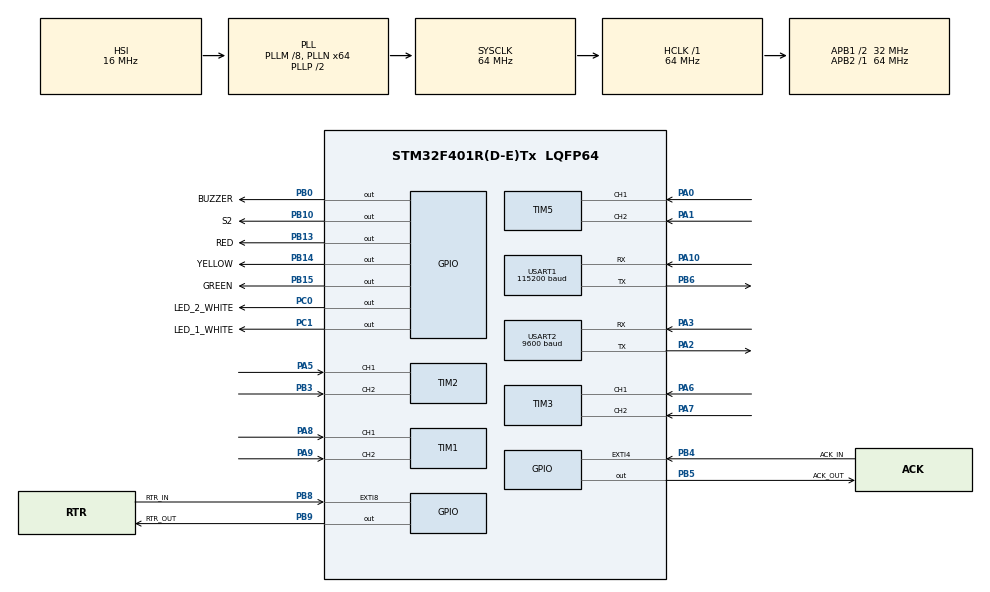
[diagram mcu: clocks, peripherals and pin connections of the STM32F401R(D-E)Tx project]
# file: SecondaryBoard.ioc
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ADC1.Channel-1\#ChannelRegularConversion=ADC_CHANNEL_TEMPSENSOR
ADC1.ContinuousConvMode=ENABLE
ADC1.EOCSelection=ADC_EOC_SEQ_CONV
ADC1.NbrOfConversionFlag=1
ADC1.Rank-1\#ChannelRegularConversion=1
ADC1.SamplingTime-1\#ChannelRegularConversion=ADC_SAMPLETIME_3CYCLES
ADC1.master=1
FREERTOS.Tasks01=defaultTask,24,128,StartDefaultTask,Default,NULL,Dynamic,NULL,NULL
FREERTOS.configENABLE_FPU=1
FREERTOS.configUSE_NEWLIB_REENTRANT=1
Mcu.Family=STM32F4
Mcu.Name=STM32F401R(D-E)Tx
Mcu.Package=LQFP64
NVIC.EXTI4_IRQn=true\:5\:0\:false\:false\:true\:true\:true\:true\:true
NVIC.EXTI9_5_IRQn=true\:5\:0\:false\:false\:true\:true\:true\:true\:true
NVIC.PriorityGroup=NVIC_PRIORITYGROUP_4
NVIC.TIM1_BRK_TIM9_IRQn=true\:5\:0\:false\:false\:true\:true\:true\:true\:true
NVIC.TIM1_TRG_COM_TIM11_IRQn=true\:15\:0\:false\:false\:true\:false\:false\:true\:true
NVIC.TIM1_UP_TIM10_IRQn=true\:5\:0\:false\:false\:true\:true\:false\:true\:true
NVIC.TimeBase=TIM1_TRG_COM_TIM11_IRQn
NVIC.TimeBaseIP=TIM11
NVIC.USART1_IRQn=true\:5\:0\:false\:false\:true\:true\:true\:true\:true
PA0-WKUP.Signal=S_TIM5_CH1
PA1.Signal=S_TIM5_CH2
PA10.Mode=Asynchronous
PA10.Signal=USART1_RX
PA2.Mode=Asynchronous
PA2.Signal=USART2_TX
PA3.Mode=Asynchronous
PA3.Signal=USART2_RX
PA5.Signal=S_TIM2_CH1_ETR
PA6.Signal=S_TIM3_CH1
PA7.Signal=S_TIM3_CH2
PA8.Signal=S_TIM1_CH1
PA9.Signal=S_TIM1_CH2
PB0.GPIO_Label=BUZZER
PB0.Signal=GPIO_Output
PB10.GPIO_Label=S2
PB10.Signal=GPIO_Output
PB13.GPIO_Label=RED
PB13.Signal=GPIO_Output
PB14.GPIO_Label=YELLOW
PB14.Signal=GPIO_Output
PB15.GPIO_Label=GREEN
PB15.Signal=GPIO_Output
PB3.Signal=S_TIM2_CH2
PB4.GPIO_Label=ACK_IN
PB4.Signal=GPXTI4
PB5.GPIO_Label=ACK_OUT
PB5.Signal=GPIO_Output
PB6.Mode=Asynchronous
PB6.Signal=USART1_TX
PB8.GPIO_Label=RTR_IN
PB8.GPIO_ModeDefaultEXTI=GPIO_MODE_IT_RISING
PB8.Signal=GPXTI8
PB9.GPIO_Label=RTR_OUT
PB9.Signal=GPIO_Output
PC0.GPIO_Label=LED_2_WHITE
PC0.Signal=GPIO_Output
PC1.GPIO_Label=LED_1_WHITE
PC1.Signal=GPIO_Output
ProjectManager.HeapSize=0x200
ProjectManager.StackSize=0x400
ProjectManager.TargetToolchain=STM32CubeIDE
RCC.48MHZClocksFreq_Value=18285714.285714287
RCC.AHBFreq_Value=64000000
RCC.APB1CLKDivider=RCC_HCLK_DIV2
RCC.APB1Freq_Value=32000000
RCC.APB1TimFreq_Value=64000000
RCC.APB2Freq_Value=64000000
RCC.APB2TimFreq_Value=64000000
RCC.CortexFreq_Value=64000000
RCC.HCLKFreq_Value=64000000
RCC.HSE_VALUE=8000000
RCC.HSI_VALUE=16000000
RCC.LSE_VALUE=32768
RCC.PLLM=8
RCC.PLLN=64
RCC.PLLQ=7
RCC.SYSCLKFreq_VALUE=64000000
RCC.SYSCLKSource=RCC_SYSCLKSOURCE_PLLCLK
RCC.VCOOutputFreq_Value=128000000
SH.S_TIM1_CH1.0=TIM1_CH1,Encoder_Interface
SH.S_TIM1_CH2.0=TIM1_CH2,Encoder_Interface
SH.S_TIM2_CH1_ETR.0=TIM2_CH1,Encoder_Interface
SH.S_TIM2_CH2.0=TIM2_CH2,Encoder_Interface
SH.S_TIM3_CH1.0=TIM3_CH1,Encoder_Interface
SH.S_TIM3_CH2.0=TIM3_CH2,Encoder_Interface
SH.S_TIM5_CH1.0=TIM5_CH1,Encoder_Interface
SH.S_TIM5_CH2.0=TIM5_CH2,Encoder_Interface
TIM1.EncoderMode=TIM_ENCODERMODE_TI12
TIM10.Channel=TIM_CHANNEL_1
TIM2.EncoderMode=TIM_ENCODERMODE_TI12
TIM3.EncoderMode=TIM_ENCODERMODE_TI12
TIM5.EncoderMode=TIM_ENCODERMODE_TI12
TIM9.Channel-Output\ Compare1\ No\ Output=TIM_CHANNEL_1
USART1.BaudRate=115200
USART1.Parity=PARITY_ODD
USART1.VirtualMode=VM_ASYNC
USART1.WordLength=WORDLENGTH_9B
USART2.BaudRate=9600
USART2.Parity=PARITY_NONE
USART2.VirtualMode=VM_ASYNC
USART2.WordLength=WORDLENGTH_8B
VP_ADC1_TempSens_Input.Mode=IN-TempSens
VP_CRC_VS_CRC.Mode=CRC_Activate
VP_FREERTOS_VS_CMSIS_V2.Mode=CMSIS_V2
VP_SYS_VS_tim11.Mode=TIM11
VP_TIM10_VS_ClockSourceINT.Mode=Enable_Timer
VP_TIM10_VS_no_output1.Mode=Output Compare1 No Output
VP_TIM9_VS_no_output1.Mode=Output Compare1 No Output
board=NUCLEO-F401RE

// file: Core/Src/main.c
/*
 * Course: IoT and embedded system design 2023/2024
 *
 * Lecturer: Francesco Moscato	fmoscato@unisa.it
 *
 * Group:
 * Adinolfi Teodoro    0622701902	   t.adinolfi2@studenti.unisa.it
 * Amato Emilio        0622701903      e.amato16@studenti.unisa.it
 * Bove Antonio        0622701898      a.bove57@studenti.unisa.it
 * Guarini Alessio     0622702042	   g.guarini7@studenti.unisa.it
 *
 * Copyright (C) 2024 - All Rights Reserved
 *
 * This file is part of SecondaryBoard.
 *
 * This program is free software: you can redistribute it and/or modify it under the terms of
 * the GNU General Public License as published by the Free Software Foundation, either version
 * 3 of the License, or (at your option) any later version.
 *
 * This program is distributed in the hope that it will be useful, but WITHOUT ANY WARRANTY;
 * without even the implied warranty of MERCHANTABILITY or FITNESS FOR A PARTICULAR PURPOSE.
 * See the GNU General Public License for more details.
 *
 * You should have received a copy of the GNU General Public License along with ContestOMP.
 * If not, see <http://www.gnu.org/licenses/>.
 */

/* USER CODE BEGIN Header */
/**
  ******************************************************************************
  * @file           : main.c
  * @brief          : Main program body
  ******************************************************************************
  * @attention
  *
  * Copyright (c) 2023 STMicroelectronics.
  * All rights reserved.
  *
  * This software is licensed under terms that can be found in the LICENSE file
  * in the root directory of this software component.
  * If no LICENSE file comes with this software, it is provided AS-IS.
  *
  ******************************************************************************
  */
/* USER CODE END Header */
#include "main.h"
#include "cmsis_os.h"
#include "adc.h"
#include "crc.h"
#include "tim.h"
#include "usart.h"
#include "gpio.h"

/* USER CODE BEGIN Includes */
#include "state_manager.h"
/* USER CODE END Includes */

void SystemClock_Config(void);
void MX_FREERTOS_Init(void);

int main(void)
{

  /* MCU Configuration--------------------------------------------------------*/

  /* Reset of all peripherals, Initializes the Flash interface and the Systick. */
  HAL_Init();

  /* Configure the system clock */
  SystemClock_Config();

  /* Initialize all configured peripherals */
  MX_GPIO_Init();
  MX_TIM5_Init();
  MX_ADC1_Init();
  MX_USART1_UART_Init();
  MX_TIM1_Init();
  MX_TIM2_Init();
  MX_TIM3_Init();
  MX_USART2_UART_Init();
  MX_CRC_Init();
  MX_TIM10_Init();
  MX_TIM9_Init();
  /* USER CODE BEGIN 2 */
  (rover_state_get_instance()->control_buttons) |= BOTH_WHITE_LED_MASK;
  HAL_GPIO_WritePin(LED_1_WHITE_GPIO_Port, LED_1_WHITE_Pin, 1);
  HAL_GPIO_WritePin(LED_2_WHITE_GPIO_Port, LED_2_WHITE_Pin, 1);
  /* USER CODE END 2 */

  /* Init scheduler */
  osKernelInitialize();

  /* Call init function for freertos objects (in freertos.c) */
  MX_FREERTOS_Init();

  /* Start scheduler */
  osKernelStart();

  /* We should never get here as control is now taken by the scheduler */
  /* Infinite loop */
  while (1)
  {

  }
}

void SystemClock_Config(void)
{
  RCC_OscInitTypeDef RCC_OscInitStruct = {0};
  RCC_ClkInitTypeDef RCC_ClkInitStruct = {0};

  /** Configure the main internal regulator output voltage
  */
  __HAL_RCC_PWR_CLK_ENABLE();
  __HAL_PWR_VOLTAGESCALING_CONFIG(PWR_REGULATOR_VOLTAGE_SCALE2);

  /** Initializes the RCC Oscillators according to the specified parameters
  * in the RCC_OscInitTypeDef structure.
  */
  RCC_OscInitStruct.OscillatorType = RCC_OSCILLATORTYPE_HSI;
  RCC_OscInitStruct.HSIState = RCC_HSI_ON;
  RCC_OscInitStruct.HSICalibrationValue = RCC_HSICALIBRATION_DEFAULT;
  RCC_OscInitStruct.PLL.PLLState = RCC_PLL_ON;
  RCC_OscInitStruct.PLL.PLLSource = RCC_PLLSOURCE_HSI;
  RCC_OscInitStruct.PLL.PLLM = 8;
  RCC_OscInitStruct.PLL.PLLN = 64;
  RCC_OscInitStruct.PLL.PLLP = RCC_PLLP_DIV2;
  RCC_OscInitStruct.PLL.PLLQ = 7;
  if (HAL_RCC_OscConfig(&RCC_OscInitStruct) != HAL_OK)
  {
    Error_Handler();
  }

  /** Initializes the CPU, AHB and APB buses clocks
  */
  RCC_ClkInitStruct.ClockType = RCC_CLOCKTYPE_HCLK|RCC_CLOCKTYPE_SYSCLK
                              |RCC_CLOCKTYPE_PCLK1|RCC_CLOCKTYPE_PCLK2;
  RCC_ClkInitStruct.SYSCLKSource = RCC_SYSCLKSOURCE_PLLCLK;
  RCC_ClkInitStruct.AHBCLKDivider = RCC_SYSCLK_DIV1;
  RCC_ClkInitStruct.APB1CLKDivider = RCC_HCLK_DIV2;
  RCC_ClkInitStruct.APB2CLKDivider = RCC_HCLK_DIV1;

  if (HAL_RCC_ClockConfig(&RCC_ClkInitStruct, FLASH_LATENCY_2) != HAL_OK)
  {
    Error_Handler();
  }
}

void Error_Handler(void)
{
  /* USER CODE BEGIN Error_Handler_Debug */
  /* User can add his own implementation to report the HAL error return state */
  __disable_irq();
  HAL_GPIO_WritePin(S2_GPIO_Port, S2_Pin, 1);
  while (1)
  {
  }
  /* USER CODE END Error_Handler_Debug */
}

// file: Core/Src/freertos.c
/*
 * Course: IoT and embedded system design 2023/2024
 *
 * Lecturer: Francesco Moscato	fmoscato@unisa.it
 *
 * Group:
 * Adinolfi Teodoro    0622701902	   t.adinolfi2@studenti.unisa.it
 * Amato Emilio        0622701903      e.amato16@studenti.unisa.it
 * Bove Antonio        0622701898      a.bove57@studenti.unisa.it
 * Guarini Alessio     0622702042	   g.guarini7@studenti.unisa.it
 *
 * Copyright (C) 2024 - All Rights Reserved
 *
 * This file is part of SecondaryBoard.
 *
 * This program is free software: you can redistribute it and/or modify it under the terms of
 * the GNU General Public License as published by the Free Software Foundation, either version
 * 3 of the License, or (at your option) any later version.
 *
 * This program is distributed in the hope that it will be useful, but WITHOUT ANY WARRANTY;
 * without even the implied warranty of MERCHANTABILITY or FITNESS FOR A PARTICULAR PURPOSE.
 * See the GNU General Public License for more details.
 *
 * You should have received a copy of the GNU General Public License along with ContestOMP.
 * If not, see <http://www.gnu.org/licenses/>.
 */

/* USER CODE BEGIN Header */
/**
  ******************************************************************************
  * File Name          : freertos.c
  * Description        : Code for freertos applications
  ******************************************************************************
  * @attention
  *
  * Copyright (c) 2024 STMicroelectronics.
  * All rights reserved.
  *
  * This software is licensed under terms that can be found in the LICENSE file
  * in the root directory of this software component.
  * If no LICENSE file comes with this software, it is provided AS-IS.
  *
  ******************************************************************************
  */
/* USER CODE END Header */

#include "FreeRTOS.h"
#include "task.h"
#include "main.h"
#include "cmsis_os.h"

/* USER CODE BEGIN Includes */
#include "adc.h"
#include "encoder_manager.h"
#include "tim.h"

#include "timer_manager.h"

/**
 * @file scheduler.h
 * @brief Replaces the FreeRTOS scheduler with the custom scheduler "ESFree".
 *
 * This file includes the necessary definitions to implement the "ESFree" scheduler,
 * designed to support the Timeline Scheduling policy in FreeRTOS environments.
 * It includes functions for initializing and managing the custom scheduler.
 *
 * For the use of the Timeline Scheduling policy, the macro schedSCHEDULING_POLICY_MANUAL has been configured.
 *
 * Furthermore, for the correct use of the following policy, in the FreeRTOSConfig.h configuration file,
 * time slicing has been disabled by setting the macro configUSE_TIME_SLICING to 0, as it is normally active.
 */

#include "scheduler.h"

/**
 * @file periodic_tasks_constants.h
 * @brief Defines constants for periodic tasks.
 *
 * This header file contains the definitions of constants needed to configure
 * periodic tasks. It includes definitions for the phase, period, worst-case execution time (WCET),
 * and the deadline of each task.
 */
#include "periodic_tasks_constants.h"

#include "b2b_protocol.h"
#include "b2b_common.h"
#include "crc.h"
#include "usart.h"
#include "encoder_manager.h"
/* USER CODE END Includes */

/* USER CODE BEGIN PD */

#define USE_ENCODER_MANAGER
#define USE_B2B

/* USER CODE END PD */

/* USER CODE BEGIN Variables */

static uint8_t retransmission_num = 0;
static uint8_t buffer[SUBSTATE_B1_B2_BYTE_SIZE + CRC_SIZE];

static TIM_HandleTypeDef *encoder_timers[ENCODER_NUM] = {&htim1,&htim2,&htim3,&htim5};

static encoder_manager_config_t encoder_manager_config = {
		.encoders_timer = encoder_timers
};

/********************** B2B configuration parameter *****************/
static const b2b_config_t b2b_config = {
		  .ack_in_Pin = ACK_IN_Pin,
		  .ack_in_Port = ACK_IN_GPIO_Port,
		  .ack_out_Pin = ACK_OUT_Pin,
		  .ack_out_Port = ACK_OUT_GPIO_Port,
		  .rtr_in_Pin = RTR_IN_Pin,
		  .rtr_in_Port = RTR_IN_GPIO_Port,
		  .rtr_out_Pin = RTR_OUT_Pin,
		  .rtr_out_Port = RTR_OUT_GPIO_Port,
		  .uartHandle = &huart1,
		  .crcHandle  = &hcrc,
		  .timer = &htim9
};
/*******************************************************************/

static uint8_t timer_elapsed_first = 0;

/**
 * @brief Handle for the sensor reading task.
 *
 * This variable is used to maintain the reference to the task responsible
 * for reading the sensors.
 */
TaskHandle_t read_sensors_task_handle = NULL;

/**
 * @brief Handle for the actuation task.
 *
 * Handle for the task responsible for actuation operations. In particular, it is responsible
 * for managing the actuation and control of the motors.
 */
TaskHandle_t actuation_task_handle = NULL;

/* USER CODE END Variables */

/* USER CODE BEGIN FunctionPrototypes */
void MX_FREERTOS_Init(void); /* (MISRA C 2004 rule 8.1) */
/**
 * @brief Task for reading sensors.
 *
 * This function is the task dedicated to reading sensors. It is executed periodically
 * to collect data from the sensors and maintain such information on board 1 through the temporary data structure
 * used later by the b2b protocol for updating the global state.
 *
 * @param pvParameters Parameters passed to the task at the time of its creation.
 * @return void
 */
static void read_sensors_task(void *pvParameters);

/**
 * @brief Task dedicated to executing commands
 *
 * The following task is responsible for executing commands related to the intention agreed upon between the two boards.
 * Specifically, since only the LEDs that manage the system's headlights are present on board 1, the only
 * actuation operations that will be performed are turning the LEDs on and off depending on the intention.
 *
 * Therefore, the estimated execution time for the actuation operations, being a write operation
 * on the pin, is approximated to 1 millisecond, as it is actually much lower but cannot be configured to a lower value
 * due to the temporal resolution of the scheduler.
 *
 * @param pvParameters
 */
static void actuation_task(void *pvParameters);

/**
 * @brief Read the temperature of the microcontroller.
 */
static void __read_temperature(void);
/* USER CODE END FunctionPrototypes */

typedef b2b_status (*B2BFunctionPointer)(void);

void MX_FREERTOS_Init(void) {
  /* USER CODE BEGIN Init */
	b2b_protocol_init(&b2b_config, buffer);

	#ifdef USE_ENCODER_MANAGER
	if(encoder_manager_init(&encoder_manager_config) != ENCODER_MANAGER_OK){
		Error_Handler();
	}
	#endif

	if(HAL_ADC_Start(&hadc1)!= HAL_OK){
		Error_Handler();
	}

	/* Inizializzazione dello scheduler*/
	vSchedulerInit();

	/* Creazione dei task periodici */

	/* Creazione del task di lettura dei sensori con i parametri definiti in periodic_tasks_constants.h */
	vSchedulerPeriodicTaskCreate(read_sensors_task, "read_Sensors_task", configMINIMAL_STACK_SIZE, NULL, 2, &read_sensors_task_handle, READ_SENSORS_TASK_PHASE, READ_SENSORS_TASK_PERIOD, READ_SENSORS_TASK_WCET, READ_SENSORS_TASK_DEADLINE);

	/* Creazione del task di attuazione con i parametri definiti in periodic_tasks_constants.h */
	vSchedulerPeriodicTaskCreate(actuation_task, "actuation_task", configMINIMAL_STACK_SIZE, NULL, 1, &actuation_task_handle, ACTUATION_TASK_PHASE, ACTUATION_TASK_PERIOD, ACTUATION_TASK_WCET, ACTUATION_TASK_DEADLINE);

  /* USER CODE END Init */

  /* Create the thread(s) */

}

/* USER CODE BEGIN Application */

static void __lights_control(uint8_t control_buttons){
	uint8_t right_led_actual_state = (control_buttons & R_WHITE_LED_MASK)!=0U;
	uint8_t	left_led_actual_state= (control_buttons & L_WHITE_LED_MASK)!=0U;
	uint8_t all_lights_actual_state = (control_buttons & BOTH_WHITE_LED_MASK)!=0U;

	if(all_lights_actual_state == 1U){
		HAL_GPIO_WritePin(LED_1_WHITE_GPIO_Port, LED_1_WHITE_Pin, 1);
		HAL_GPIO_WritePin(LED_2_WHITE_GPIO_Port, LED_2_WHITE_Pin, 1);
	} else {
		HAL_GPIO_WritePin(LED_1_WHITE_GPIO_Port, LED_1_WHITE_Pin, left_led_actual_state);
		HAL_GPIO_WritePin(LED_2_WHITE_GPIO_Port, LED_2_WHITE_Pin, right_led_actual_state);
	}
}

static inline void __buzzer_control(uint8_t control_buttons){

	HAL_GPIO_WritePin(BUZZER_GPIO_Port, BUZZER_Pin, ((control_buttons & BUZZER_MASK) != 0U));

}

static void read_sensors_task(void *pvParameters){

	__disable_irq();

	rover_state_t *rover_state = rover_state_get_instance();
	__read_temperature();
	#ifdef USE_ENCODER_MANAGER
		encoder_manager_update_rpm(rover_state->rpm_motors);
	#endif

	__enable_irq();

}

static void actuation_task(void *pvParameters){

	rover_state_t *rover_state = rover_state_get_instance();

	__lights_control(rover_state->control_buttons);
	__buzzer_control(rover_state->control_buttons);

}

static void __read_temperature(void){

	uint16_t raw_value;
	rover_state_t *rover_state = rover_state_get_instance();

	HAL_ADC_PollForConversion(&hadc1, HAL_MAX_DELAY);
	raw_value = HAL_ADC_GetValue(&hadc1);

	rover_state->temperature_B2 = ((float)raw_value) / 4095 * 3300;
	rover_state->temperature_B2 = ((rover_state->temperature_B2 - 760.0) / 2.5) + 25;

}

void HAL_GPIO_EXTI_Callback(uint16_t GPIO_Pin){

	b2b_protocol_t* b2b= get_b2b_instance();

	if (b2b->config->rtr_in_Pin == GPIO_Pin){
		if(b2b->protocol_step == 0){
			retransmission_num = 0;
			b2b_send_state();
		}else{
			b2b_send_intention();
		}

		start_timer(b2b->config->timer, 1);
	}

	if (b2b->config->ack_in_Pin == GPIO_Pin){
		stop_timer(b2b->config->timer);
		timer_elapsed_first = 0;
		if(b2b->protocol_step == 0){
			b2b_request_state();
		}else{
			b2b_request_intention(b2b->buffer);
		}
	}

}

/**
  * @brief  Period elapsed callback in non blocking mode
  * @note   This function is called  when TIM11 interrupt took place, inside
  * HAL_TIM_IRQHandler(). It makes a direct call to HAL_IncTick() to increment
  * a global variable "uwTick" used as application time base.
  * @param  htim : TIM handle
  * @retval None
  */
void HAL_TIM_PeriodElapsedCallback(TIM_HandleTypeDef *htim)
{
  /* USER CODE BEGIN Callback 0 */

  /* USER CODE END Callback 0 */
  if (htim->Instance == TIM11) {
    HAL_IncTick();
  } else if(htim->Instance == TIM9){

	  if(timer_elapsed_first != 0){
		  b2b_protocol_t* b2b = get_b2b_instance();
		  stop_timer(b2b->config->timer);
		  timer_elapsed_first = 0;
		  if(retransmission_num == 0){
			  retransmission_num = 1;
			  if(b2b->protocol_step == 0){
				  b2b_send_state();
			  }else{
				  b2b_send_intention();
			  }
			  start_timer(b2b->config->timer, 1);
		  }else{
			  Error_Handler();
		  }
	  } else {
		  timer_elapsed_first = 1;
	  }

  }
  /* USER CODE BEGIN Callback 1 */

  /* USER CODE END Callback 1 */
}

void HAL_UART_RxCpltCallback(UART_HandleTypeDef *huart){

	b2b_protocol_t* b2b = get_b2b_instance();

	if(huart == b2b->config->uartHandle){

		if(b2b->protocol_step == 0){
			if(deserialize_status(b2b->buffer) == B2B_OK){
				b2b_send_ACK();
				b2b_processing_state();
				b2b->protocol_step = 1;
			}
		}else{
			if(deserialize_intention(b2b->buffer) == B2B_OK){
				b2b_send_ACK();
				b2b_update_global_state();
				b2b->protocol_step = 0;
			}
		}
	}
}
/* USER CODE END Application */
